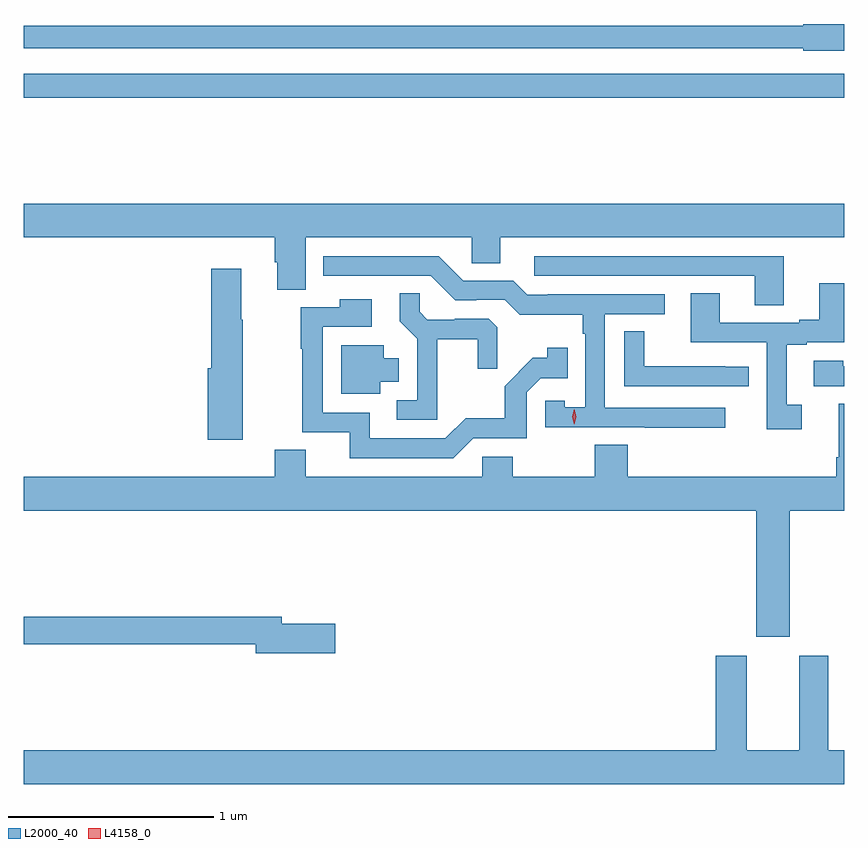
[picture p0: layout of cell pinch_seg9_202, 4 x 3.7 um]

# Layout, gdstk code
import gdstk
lib = gdstk.Library(unit=1e-6, precision=1e-09)
def R(c, l, rs):  # rectangles x0, y0, x1, y1
    for r in rs: c.add(gdstk.rectangle(r[:2], r[2:], *l))
def P(c, l, *ps):  # polygons
    for p in ps: c.add(gdstk.Polygon(p, *l))
L2000_40 = (2000, 40)
L4158_0 = (4158, 0)

pinch_seg9_202 = lib.new_cell('pinch_seg9_202')
R(pinch_seg9_202, L2000_40, [(520.523,1218.412,524.523,1218.528)])
P(pinch_seg9_202, L2000_40, [(524.523,1218.771),(524.322,1218.771),(524.322,1218.763),(520.523,1218.763),(520.523,1218.654),(524.322,1218.654),(524.322,1218.641),(524.523,1218.641)],
  [(521.899,1217.732),(522.708,1217.732),(522.708,1217.605),(522.847,1217.605),(522.847,1217.732),(524.523,1217.732),(524.523,1217.896),(520.523,1217.896),(520.523,1217.732),(521.746,1217.732),(521.746,1217.61),(521.759,1217.61),(521.759,1217.476),(521.899,1217.476)],
  [(524.227,1217.64),(523.011,1217.64),(523.011,1217.544),(524.087,1217.544),(524.087,1217.401),(524.227,1217.401)],
  [(523.942,1216.902),(523.356,1216.902),(523.356,1217.358),(523.648,1217.358),(523.648,1217.454),(523.078,1217.454),(523.078,1217.451),(522.978,1217.451),(522.909,1217.52),(522.666,1217.52),(522.546,1217.64),(521.984,1217.64),(521.984,1217.544),(522.507,1217.544),(522.627,1217.424),(522.728,1217.424),(522.728,1217.427),(522.867,1217.427),(522.94,1217.354),(523.248,1217.354),(523.248,1217.261),(523.26,1217.261),(523.26,1216.903),(523.161,1216.903),(523.161,1216.935),(523.065,1216.935),(523.065,1216.806),(523.549,1216.806),(523.549,1216.804),(523.942,1216.804)],
  [(521.59,1217.094),(521.592,1217.094),(521.592,1217.33),(521.584,1217.33),(521.584,1217.578),(521.438,1217.578),(521.438,1217.094),(521.42,1217.094),(521.42,1216.746),(521.59,1216.746)],
  [(524.314,1216.917),(524.242,1216.917),(524.242,1217.208),(524.338,1217.208),(524.338,1217.22),(524.523,1217.22),(524.523,1217.509),(524.399,1217.509),(524.399,1217.329),(524.303,1217.329),(524.303,1217.316),(523.915,1217.316),(523.915,1217.459),(523.775,1217.459),(523.775,1217.22),(524.145,1217.22),(524.145,1216.797),(524.314,1216.797)],
  [(522.539,1217.234),(522.736,1217.234),(522.736,1217.091),(522.83,1217.091),(522.83,1217.293),(522.789,1217.334),(522.624,1217.334),(522.624,1217.331),(522.49,1217.331),(522.453,1217.368),(522.453,1217.459),(522.355,1217.459),(522.355,1217.323),(522.441,1217.237),(522.441,1216.938),(522.342,1216.938),(522.342,1216.842),(522.539,1216.842)],
  [(522.714,1216.752),(522.975,1216.752),(522.975,1216.977),(523.044,1217.046),(523.175,1217.046),(523.175,1217.194),(523.074,1217.194),(523.074,1217.144),(523.004,1217.144),(522.867,1217.006),(522.867,1216.851),(522.678,1216.851),(522.579,1216.752),(522.211,1216.752),(522.211,1216.878),(521.982,1216.878),(521.982,1217.295),(522.22,1217.295),(522.22,1217.431),(522.064,1217.431),(522.064,1217.391),(521.874,1217.391),(521.874,1217.188),(521.881,1217.188),(521.881,1216.782),(522.113,1216.782),(522.113,1216.656),(522.618,1216.656)],
  [(524.056,1217.102),(523.943,1217.102),(523.943,1217.103),(523.548,1217.103),(523.548,1217.273),(523.449,1217.273),(523.449,1217.007),(524.056,1217.007)],
  [(522.262,1217.027),(522.352,1217.027),(522.352,1217.143),(522.277,1217.143),(522.277,1217.206),(522.071,1217.206),(522.071,1216.97),(522.262,1216.97)],
  [(524.523,1217.103),(524.517,1217.103),(524.517,1217.131),(524.373,1217.131),(524.373,1217.007),(524.523,1217.007)],
  [(524.257,1216.4),(524.523,1216.4),(524.523,1216.921),(524.495,1216.921),(524.495,1216.66),(524.483,1216.66),(524.483,1216.564),(523.466,1216.564),(523.466,1216.721),(523.306,1216.721),(523.306,1216.564),(522.906,1216.564),(522.906,1216.662),(522.759,1216.662),(522.759,1216.564),(521.899,1216.564),(521.899,1216.697),(521.746,1216.697),(521.746,1216.564),(520.523,1216.564),(520.523,1216.4),(524.093,1216.4),(524.093,1215.786),(524.257,1215.786)],
  [(522.043,1215.848),(521.782,1215.848),(521.782,1215.884),(520.523,1215.884),(520.523,1215.748),(521.654,1215.748),(521.654,1215.706),(522.043,1215.706)],
  [(524.523,1215.232),(524.443,1215.232),(524.443,1215.694),(524.303,1215.694),(524.303,1215.232),(524.047,1215.232),(524.047,1215.694),(523.895,1215.694),(523.895,1215.232),(520.523,1215.232),(520.523,1215.068),(524.523,1215.068)])
P(pinch_seg9_202, L4158_0, [(523.206,1216.821),(523.206,1216.821),(523.196,1216.857),(523.206,1216.893),(523.206,1216.893),(523.206,1216.893),(523.216,1216.857),(523.206,1216.821)])

lib.write_gds('pinch_seg9_202.gds')
